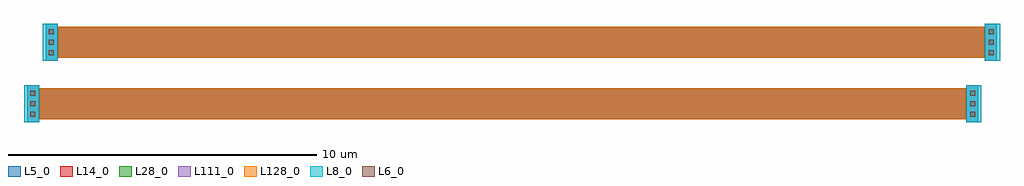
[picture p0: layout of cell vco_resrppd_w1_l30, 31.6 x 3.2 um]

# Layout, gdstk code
import gdstk
lib = gdstk.Library(unit=1e-6, precision=1e-09)
def R(c, l, rs):  # rectangles x0, y0, x1, y1
    for r in rs: c.add(gdstk.rectangle(r[:2], r[2:], *l))
def A(c, l, x, y, w, h, nx, ny, dx, dy):  # array of equal rectangles
    R(c, l, [(x+i*dx, y+j*dy, x+i*dx+w, y+j*dy+h) for i in range(nx) for j in range(ny)])
L5_0 = (5, 0)
L6_0 = (6, 0)
L8_0 = (8, 0)
L14_0 = (14, 0)
L28_0 = (28, 0)
L111_0 = (111, 0)
L128_0 = (128, 0)

vco_resrppd_w1_l30 = lib.new_cell('vco_resrppd_w1_l30')
R(vco_resrppd_w1_l30, L5_0, [(0.1,0.1,0.5,1.3), (30.5,0.1,30.9,1.3), (0.5,0.2,30.5,1.2), (0.7,2.1,1.1,3.3), (31.1,2.1,31.5,3.3), (1.1,2.2,31.1,3.2)])
A(vco_resrppd_w1_l30, L6_0, 0.2, 0.28, 0.16, 0.16, 1, 3, 0, 0.34)
A(vco_resrppd_w1_l30, L6_0, 30.64, 0.28, 0.16, 0.16, 1, 3, 0, 0.34)
A(vco_resrppd_w1_l30, L6_0, 0.8, 2.28, 0.16, 0.16, 1, 3, 0, 0.34)
A(vco_resrppd_w1_l30, L6_0, 31.24, 2.28, 0.16, 0.16, 1, 3, 0, 0.34)
R(vco_resrppd_w1_l30, L8_0, [(0,0.1,0.5,1.3), (30.5,0.1,31,1.3), (0.6,2.1,1.1,3.3), (31.1,2.1,31.6,3.3)])
R(vco_resrppd_w1_l30, L14_0, [(0.5,0.2,30.5,1.2), (1.1,2.2,31.1,3.2)])
R(vco_resrppd_w1_l30, L28_0, [(0.5,0.2,30.5,1.2), (1.1,2.2,31.1,3.2)])
R(vco_resrppd_w1_l30, L111_0, [(0.5,0.2,30.5,1.2), (1.1,2.2,31.1,3.2)])
R(vco_resrppd_w1_l30, L128_0, [(0.5,0.2,30.5,1.2), (1.1,2.2,31.1,3.2)])

lib.write_gds('vco_resrppd_w1_l30.gds')
